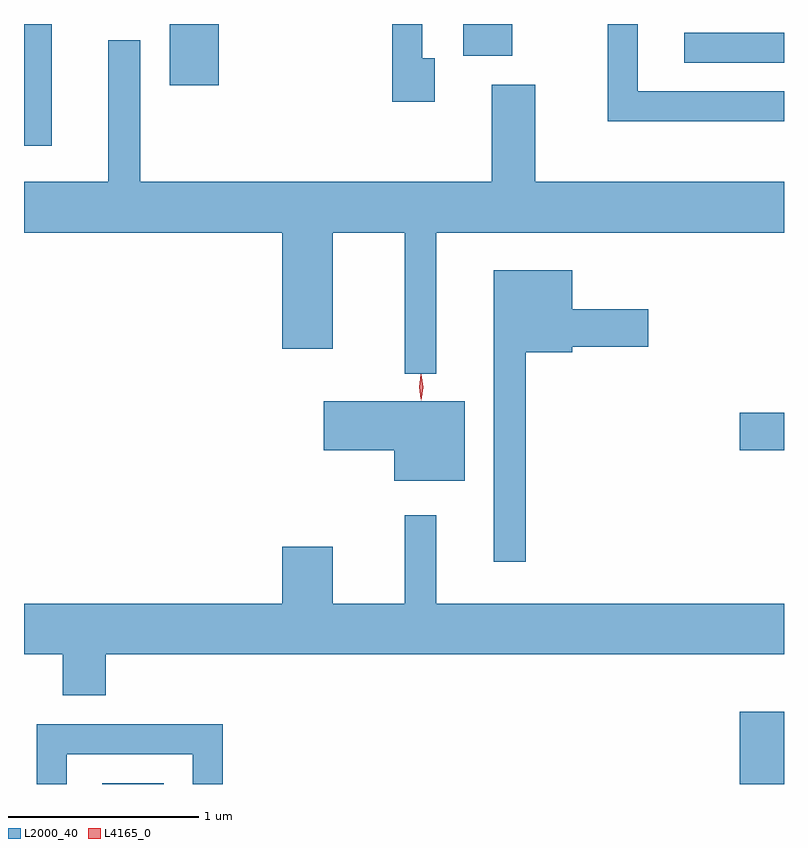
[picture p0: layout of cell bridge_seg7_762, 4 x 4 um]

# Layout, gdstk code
import gdstk
lib = gdstk.Library(unit=1e-6, precision=1e-09)
def R(c, l, rs):  # rectangles x0, y0, x1, y1
    for r in rs: c.add(gdstk.rectangle(r[:2], r[2:], *l))
def P(c, l, *ps):  # polygons
    for p in ps: c.add(gdstk.Polygon(p, *l))
L2000_40 = (2000, 40)
L4165_0 = (4165, 0)

bridge_seg7_762 = lib.new_cell('bridge_seg7_762')
R(bridge_seg7_762, L2000_40, [(254.091,1746.934,254.414,1746.939), (257.446,1746.934,257.678,1747.314), (257.446,1748.691,257.678,1748.889), (253.678,1750.293,253.824,1750.934), (254.446,1750.611,254.704,1750.934), (257.153,1750.731,257.678,1750.889), (255.991,1750.766,256.249,1750.934)])
P(bridge_seg7_762, L2000_40, [(255.839,1750.754),(255.774,1750.754),(255.774,1750.934),(255.616,1750.934),(255.616,1750.526),(255.839,1750.526)],
  [(257.678,1750.579),(256.909,1750.579),(256.909,1750.934),(256.751,1750.934),(256.751,1750.421),(257.678,1750.421)],
  [(255.849,1749.836),(257.678,1749.836),(257.678,1750.104),(256.369,1750.104),(256.369,1750.614),(256.141,1750.614),(256.141,1750.104),(254.289,1750.104),(254.289,1750.848),(254.121,1750.848),(254.121,1750.104),(253.678,1750.104),(253.678,1749.836),(255.036,1749.836),(255.036,1749.226),(255.304,1749.226),(255.304,1749.836),(255.681,1749.836),(255.681,1749.093),(255.849,1749.093)],
  [(256.319,1749.206),(256.564,1749.206),(256.564,1749.236),(256.964,1749.236),(256.964,1749.434),(256.564,1749.434),(256.564,1749.639),(256.151,1749.639),(256.151,1748.103),(256.319,1748.103)],
  [(255.999,1748.949),(255.256,1748.949),(255.256,1748.691),(255.626,1748.691),(255.626,1748.531),(255.999,1748.531)],
  [(254.109,1747.616),(257.678,1747.616),(257.678,1747.884),(255.849,1747.884),(255.849,1748.348),(255.681,1748.348),(255.681,1747.884),(255.304,1747.884),(255.304,1748.184),(255.036,1748.184),(255.036,1747.884),(253.678,1747.884),(253.678,1747.616),(253.881,1747.616),(253.881,1747.401),(254.109,1747.401)],
  [(253.904,1747.091),(254.566,1747.091),(254.566,1746.934),(254.724,1746.934),(254.724,1747.249),(253.746,1747.249),(253.746,1746.934),(253.904,1746.934)])
P(bridge_seg7_762, L4165_0, [(255.768,1748.954),(255.768,1748.954),(255.758,1749.022),(255.767,1749.09),(255.767,1749.09),(255.768,1749.09),(255.778,1749.022),(255.769,1748.954)],
  [(255.768,1748.96),(255.767,1748.961),(255.757,1749.023),(255.767,1749.086),(255.767,1749.087),(255.768,1749.086),(255.777,1749.024),(255.768,1748.961)])

lib.write_gds('bridge_seg7_762.gds')
